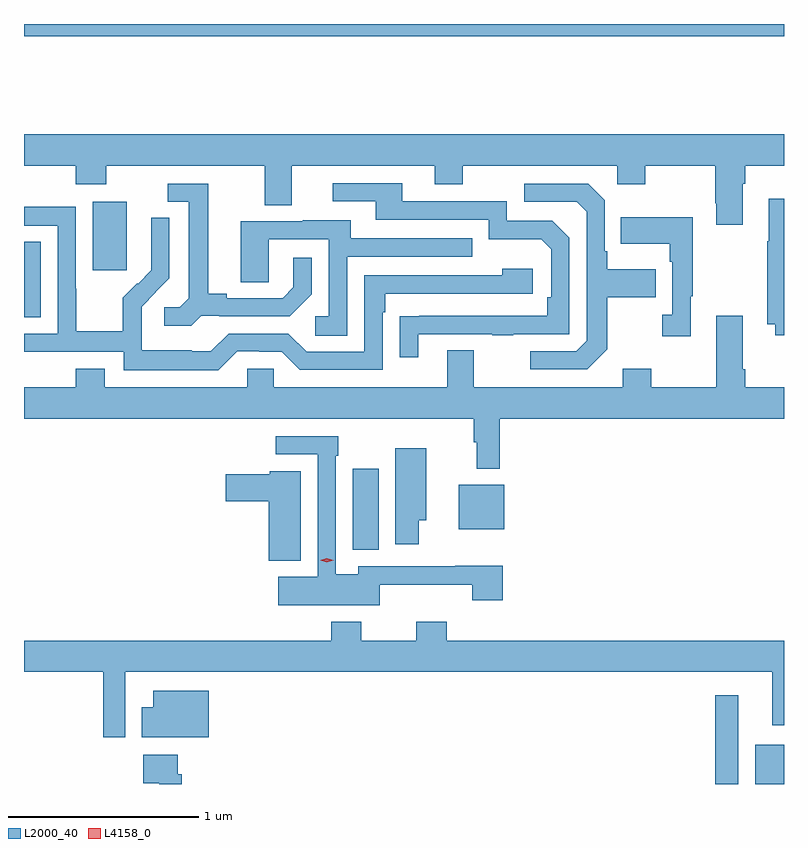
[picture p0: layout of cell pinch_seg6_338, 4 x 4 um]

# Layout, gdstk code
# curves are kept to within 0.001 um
import gdstk
lib = gdstk.Library(unit=1e-6, precision=1e-09)
def R(c, l, rs):  # rectangles x0, y0, x1, y1
    for r in rs: c.add(gdstk.rectangle(r[:2], r[2:], *l))
def P(c, l, *ps):  # polygons
    for p in ps: c.add(gdstk.Polygon(p, *l))
L2000_40 = (2000, 40)
L4158_0 = (4158, 0)

pinch_seg6_338 = lib.new_cell('pinch_seg6_338')
R(pinch_seg6_338, L2000_40, [(709.17,936.089,709.291,936.556), (709.379,936.089,709.531,936.295), (707.261,937.321,707.398,937.747), (707.819,937.43,708.058,937.663), (705.531,938.545,705.619,938.942), (705.893,938.793,706.072,939.154), (705.531,940.024,709.531,940.089)])
P(pinch_seg6_338, L2000_40, [(709.315,939.248),(709.328,939.248),(709.328,939.344),(709.531,939.344),(709.531,939.508),(705.531,939.508),(705.531,939.344),(705.803,939.344),(705.803,939.245),(705.963,939.245),(705.963,939.344),(706.799,939.344),(706.799,939.136),(706.939,939.136),(706.939,939.344),(707.693,939.344),(707.693,939.245),(707.841,939.245),(707.841,939.344),(708.654,939.344),(708.654,939.245),(708.801,939.245),(708.801,939.344),(709.168,939.344),(709.168,939.145),(709.175,939.145),(709.175,939.033),(709.315,939.033)],
  [(707.605,938.457),(707.995,938.457),(707.995,938.452),(708.107,938.452),(708.107,938.457),(708.402,938.457),(708.402,938.964),(708.312,939.054),(708.072,939.054),(708.072,939.156),(707.521,939.156),(707.521,939.252),(707.157,939.252),(707.157,939.156),(707.381,939.156),(707.381,939.06),(707.976,939.06),(707.976,938.957),(708.253,938.957),(708.306,938.904),(708.306,938.65),(708.286,938.65),(708.286,938.553),(707.509,938.552),(707.509,938.334),(707.605,938.334)],
  [(706.464,938.553),(706.558,938.553),(706.558,938.55),(706.93,938.55),(707.046,938.666),(707.046,938.86),(706.949,938.86),(706.949,938.703),(706.892,938.646),(706.597,938.646),(706.597,938.669),(706.501,938.669),(706.501,939.249),(706.287,939.249),(706.287,939.153),(706.397,939.153),(706.397,938.645),(706.35,938.598),(706.269,938.598),(706.269,938.501),(706.412,938.501)],
  [(708.601,938.377),(708.601,938.65),(708.857,938.65),(708.857,938.797),(708.601,938.797),(708.601,938.893),(708.588,938.893),(708.588,939.162),(708.501,939.249),(708.165,939.249),(708.165,939.153),(708.441,939.153),(708.492,939.102),(708.492,938.421),(708.438,938.367),(708.195,938.367),(708.195,938.271),(708.495,938.271)],
  [(709.531,939.169),(709.451,939.169),(709.451,938.945),(709.444,938.945),(709.444,938.51),(709.484,938.51),(709.484,938.451),(709.531,938.451)],
  [(706.653,938.367),(706.769,938.367),(706.769,938.364),(706.887,938.364),(706.983,938.268),(707.418,938.268),(707.418,938.573),(707.431,938.573),(707.431,938.67),(708.208,938.67),(708.208,938.8),(708.047,938.8),(708.047,938.766),(707.322,938.766),(707.322,938.364),(707.019,938.364),(706.923,938.46),(706.608,938.46),(706.515,938.367),(706.415,938.367),(706.415,938.371),(706.152,938.371),(706.152,938.505),(706.15,938.505),(706.15,938.602),(706.296,938.75),(706.296,939.068),(706.2,939.068),(706.2,938.914),(706.202,938.914),(706.202,938.792),(706.131,938.721),(706.128,938.724),(706.051,938.647),(706.051,938.473),(705.807,938.473),(705.807,938.696),(705.804,938.696),(705.804,939.126),(705.531,939.126),(705.531,939.027),(705.708,939.027),(705.708,938.46),(705.531,938.46),(705.531,938.364),(706.056,938.364),(706.056,938.267),(706.553,938.267)],
  [(709.039,938.657),(709.051,938.657),(709.051,939.073),(708.673,939.073),(708.673,938.933),(708.93,938.933),(708.93,938.837),(708.942,938.837),(708.942,938.558),(708.891,938.558),(708.891,938.445),(709.039,938.445)],
  [(707.232,938.865),(707.891,938.865),(707.891,938.961),(707.251,938.961),(707.251,939.055),(706.997,939.055),(706.997,939.051),(706.673,939.051),(706.673,938.731),(706.818,938.731),(706.818,938.955),(707.136,938.955),(707.136,938.55),(707.064,938.55),(707.064,938.449),(707.232,938.449)],
  [(708.035,938.012),(709.531,938.012),(709.531,938.176),(709.328,938.176),(709.328,938.272),(709.315,938.272),(709.315,938.554),(709.175,938.554),(709.175,938.176),(708.831,938.176),(708.831,938.275),(708.683,938.275),(708.683,938.176),(707.899,938.176),(707.899,938.371),(707.759,938.371),(707.759,938.176),(706.845,938.176),(706.845,938.274),(706.707,938.274),(706.707,938.176),(705.955,938.176),(705.955,938.275),(705.803,938.275),(705.803,938.176),(705.531,938.176),(705.531,938.012),(707.899,938.012),(707.899,937.889),(707.914,937.889),(707.914,937.749),(708.035,937.749)],
  [(707.404,937.139),(707.89,937.139),(707.89,937.056),(708.05,937.056),(708.05,937.238),(707.801,937.238),(707.801,937.236),(707.291,937.236),(707.291,937.192),(707.172,937.192),(707.172,937.817),(707.185,937.817),(707.185,937.92),(706.857,937.92),(706.857,937.824),(707.076,937.824),(707.076,937.18),(706.869,937.18),(706.869,937.031),(707.404,937.031)],
  [(707.608,937.478),(707.647,937.478),(707.647,937.855),(707.486,937.855),(707.486,937.35),(707.608,937.35)],
  [(706.987,937.735),(706.824,937.735),(706.824,937.719),(706.593,937.719),(706.593,937.577),(706.82,937.577),(706.82,937.265),(706.987,937.265)],
  [(706.065,936.68),(709.469,936.68),(709.469,936.399),(709.531,936.399),(709.531,936.844),(707.756,936.844),(707.756,936.943),(707.596,936.943),(707.596,936.844),(707.307,936.844),(707.307,936.943),(707.147,936.943),(707.147,936.844),(705.531,936.844),(705.531,936.68),(705.949,936.68),(705.949,936.336),(706.065,936.336)],
  [(706.504,936.58),(706.211,936.58),(706.211,936.493),(706.15,936.493),(706.15,936.335),(706.504,936.335)],
  [(706.361,936.14),(706.341,936.14),(706.341,936.244),(706.158,936.244),(706.158,936.092),(706.244,936.092),(706.244,936.089),(706.361,936.089)])
P(pinch_seg6_338, L4158_0, [(707.125,937.257),(707.09,937.267),(707.09,937.267),(707.09,937.267),(707.125,937.277),(707.16,937.267),(707.16,937.267),(707.16,937.267)])

lib.write_gds('pinch_seg6_338.gds')
